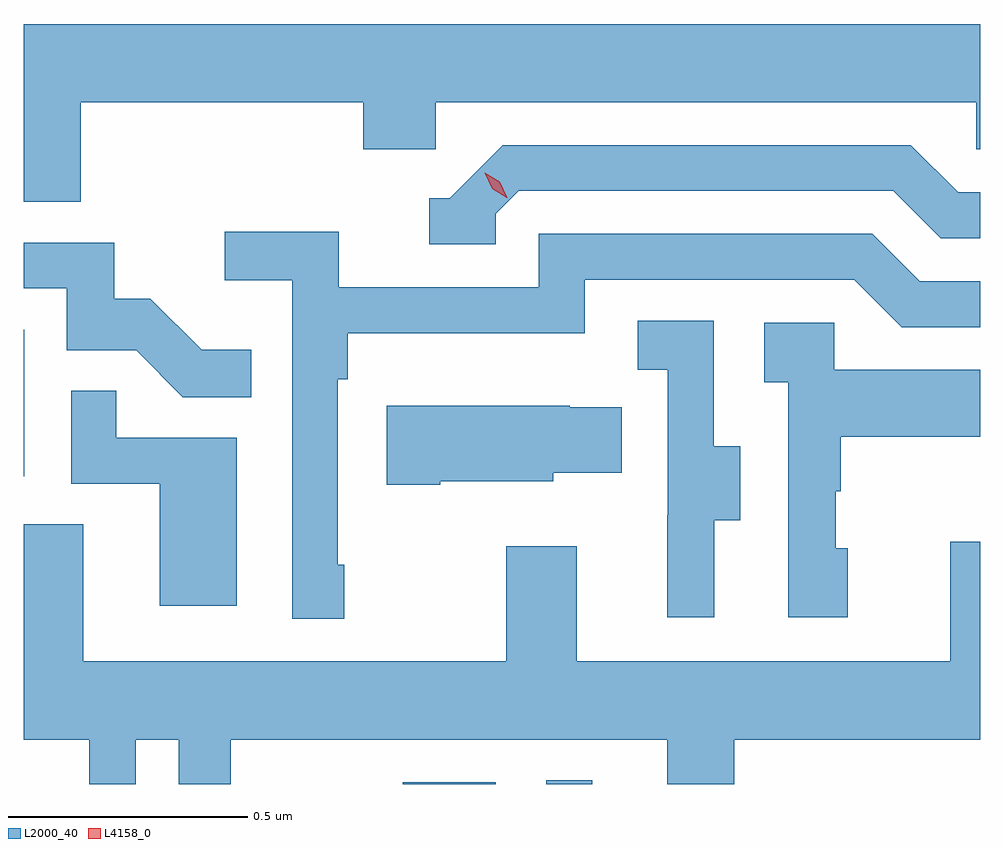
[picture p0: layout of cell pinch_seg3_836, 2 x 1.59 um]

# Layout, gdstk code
import gdstk
lib = gdstk.Library(unit=1e-6, precision=1e-09)
def R(c, l, rs):  # rectangles x0, y0, x1, y1
    for r in rs: c.add(gdstk.rectangle(r[:2], r[2:], *l))
def P(c, l, *ps):  # polygons
    for p in ps: c.add(gdstk.Polygon(p, *l))
L2000_40 = (2000, 40)
L4158_0 = (4158, 0)

pinch_seg3_836 = lib.new_cell('pinch_seg3_836')
R(pinch_seg3_836, L2000_40, [(855.141,726.131,855.336,726.135), (855.441,726.131,855.538,726.139), (854.349,726.774,854.35,727.081)])
P(pinch_seg3_836, L2000_40, [(854.349,727.348),(854.468,727.348),(854.468,727.556),(855.059,727.556),(855.059,727.458),(855.21,727.458),(855.21,727.556),(856.341,727.556),(856.341,727.458),(856.349,727.458),(856.349,727.72),(854.349,727.72)],
  [(855.336,727.323),(855.384,727.371),(856.167,727.371),(856.266,727.272),(856.349,727.272),(856.349,727.368),(856.303,727.368),(856.204,727.467),(855.351,727.467),(855.24,727.356),(855.197,727.356),(855.197,727.26),(855.336,727.26)],
  [(855.019,726.589),(855.006,726.589),(855.006,726.977),(855.026,726.977),(855.026,727.073),(855.522,727.073),(855.522,727.185),(856.086,727.185),(856.185,727.086),(856.349,727.086),(856.349,727.182),(856.222,727.182),(856.123,727.281),(855.426,727.281),(855.426,727.17),(855.008,727.17),(855.008,727.286),(854.769,727.286),(854.769,727.184),(854.91,727.184),(854.91,726.477),(855.019,726.477)],
  [(854.825,727.039),(854.721,727.039),(854.614,727.146),(854.538,727.146),(854.538,727.263),(854.349,727.263),(854.349,727.167),(854.439,727.167),(854.439,727.038),(854.584,727.038),(854.682,726.94),(854.825,726.94)],
  [(855.793,726.682),(855.847,726.682),(855.847,726.837),(855.792,726.837),(855.792,727.1),(855.633,727.1),(855.633,726.997),(855.696,726.997),(855.696,726.693),(855.695,726.693),(855.695,726.48),(855.793,726.48)],
  [(856.072,726.624),(856.047,726.624),(856.047,726.743),(856.057,726.743),(856.057,726.857),(856.349,726.857),(856.349,726.997),(856.044,726.997),(856.044,727.095),(855.897,727.095),(855.897,726.971),(855.948,726.971),(855.948,726.48),(856.072,726.48)],
  [(854.794,726.855),(854.543,726.855),(854.543,726.953),(854.448,726.953),(854.448,726.759),(854.633,726.759),(854.633,726.504),(854.794,726.504)],
  [(855.22,726.764),(855.456,726.764),(855.456,726.782),(855.599,726.782),(855.599,726.919),(855.491,726.919),(855.491,726.922),(855.108,726.922),(855.108,726.757),(855.22,726.757)],
  [(854.583,726.224),(854.673,726.224),(854.673,726.131),(854.782,726.131),(854.782,726.224),(855.695,726.224),(855.695,726.131),(855.835,726.131),(855.835,726.224),(856.349,726.224),(856.349,726.637),(856.286,726.637),(856.286,726.388),(855.505,726.388),(855.505,726.628),(855.358,726.628),(855.358,726.388),(854.473,726.388),(854.473,726.674),(854.349,726.674),(854.349,726.224),(854.486,726.224),(854.486,726.131),(854.583,726.131)])
P(pinch_seg3_836, L4158_0, [(855.359,727.357),(855.329,727.376),(855.313,727.409),(855.313,727.409),(855.313,727.409),(855.344,727.39),(855.36,727.357),(855.36,727.357)])

lib.write_gds('pinch_seg3_836.gds')
